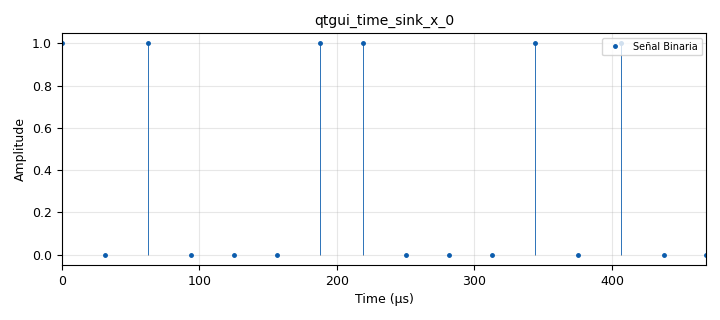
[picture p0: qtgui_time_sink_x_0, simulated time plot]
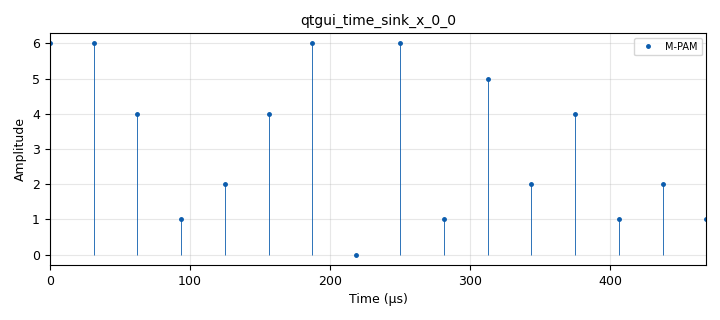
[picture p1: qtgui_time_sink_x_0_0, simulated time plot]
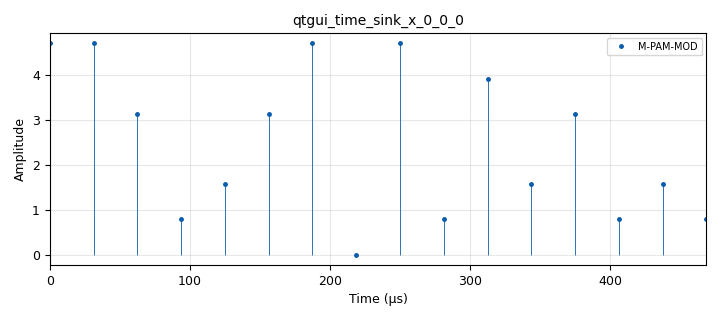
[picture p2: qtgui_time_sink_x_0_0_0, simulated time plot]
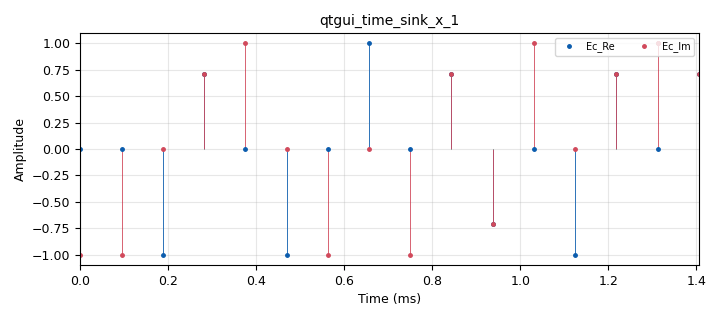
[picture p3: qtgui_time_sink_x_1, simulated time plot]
options:
  parameters:
    generate_options: qt_gui
    id: untitled
    output_language: python
    title: Not titled yet
  states: {}

blocks:
- name: M
  id: variable
  parameters:
    value: '8'
  states: {}
- name: Nbs
  id: variable
  parameters:
    value: int(math.log(M,2))
  states: {}
- name: Rb
  id: variable
  parameters:
    value: '32000'
  states: {}
- name: Rs
  id: variable
  parameters:
    value: Rb/Nbs
  states: {}
- name: analog_const_source_x_0
  id: analog_const_source_x
  parameters:
    const: '1.'
    type: float
  states: {}
- name: analog_random_source_x_0
  id: analog_random_source_x
  parameters:
    max: '2'
    min: '0'
    num_samps: '1000'
    repeat: 'True'
    type: byte
  states: {}
- name: blocks_char_to_float_0
  id: blocks_char_to_float
  parameters:
    scale: '1'
  states: {}
- name: blocks_char_to_float_0_0
  id: blocks_char_to_float
  parameters:
    scale: '1'
  states: {}
- name: blocks_char_to_float_0_0_0
  id: blocks_char_to_float
  parameters:
    scale: '1'
  states: {}
- name: blocks_multiply_const_vxx_0
  id: blocks_multiply_const_vxx
  parameters:
    const: 2*math.pi/M
    type: float
  states: {}
- name: blocks_repack_bits_bb_0
  id: blocks_repack_bits_bb
  parameters:
    endianness: gr.GR_LSB_FIRST
    k: '1'
    l: Nbs
  states: {}
- name: epy_block_0
  id: epy_block
  parameters:
    _source_code: "\n\nimport numpy as np\nfrom gnuradio import gr\n\nclass blk(gr.sync_block):  \n    \"\"\"This block is a Complex Exponential (CE) Voltage-Controlled Oscillator (VCO) or Baseband VCO. \n    It works by generating a complex exponential signal with amplitude and phase modulation.\n    \"\"\"\n\n    def __init__(self,):  \n        # Initialize the sync block with the specified input and output signal types\n        gr.sync_block.__init__(\n            self,\n            name='VCO Complex',  # Name of the block\n            in_sig=[np.float32, np.float32],  # Input: two float32 arrays (amplitude and phase)\n            out_sig=[np.complex64]  # Output: one complex64 array (modulated signal in complex form)\n        )\n        \n    def work(self, input_items, output_items):\n        # Get the amplitude (A) and phase (Q) from the input items\n        A = input_items[0]  # Amplitude input signal\n        Q = input_items[1]  # Phase input signal\n        Sec = output_items[0]  # Output signal array (modulated complex signal)\n\n        \n        # Generate the complex exponential output signal using the formula:\n        # y = A * exp(j*Q)\n        Sec[:] = A * np.exp(1j * Q)  # complex exponential signal\n        \n        \n        return len(Sec)"
  states: {}
- name: import_0
  id: import
  parameters:
    imports: import math
  states: {}
- name: qtgui_time_sink_x_0
  id: qtgui_time_sink_x
  parameters:
    autoscale: 'True'
    grid: 'True'
    label1: Señal Binaria
    marker1: '0'
    size: '16'
    srate: Rb
    stemplot: 'True'
    type: float
  states: {}
- name: qtgui_time_sink_x_0_0
  id: qtgui_time_sink_x
  parameters:
    autoscale: 'True'
    color1: dark blue
    grid: 'True'
    label1: M-PAM
    marker1: '0'
    size: '16'
    srate: Rb
    stemplot: 'True'
    type: float
  states: {}
- name: qtgui_time_sink_x_0_0_0
  id: qtgui_time_sink_x
  parameters:
    autoscale: 'True'
    color1: dark blue
    grid: 'True'
    label1: M-PAM-MOD
    marker1: '0'
    size: '16'
    srate: Rb
    stemplot: 'True'
    type: float
  states: {}
- name: qtgui_time_sink_x_1
  id: qtgui_time_sink_x
  parameters:
    autoscale: 'True'
    grid: 'True'
    label1: Ec_Re
    label2: Ec_Im
    marker1: '0'
    marker2: '0'
    size: '16'
    srate: Rs
    stemplot: 'True'
    type: complex
  states: {}

connections:
- [analog_const_source_x_0, '0', epy_block_0, '0']
- [analog_random_source_x_0, '0', blocks_char_to_float_0, '0']
- [analog_random_source_x_0, '0', blocks_repack_bits_bb_0, '0']
- [blocks_char_to_float_0, '0', qtgui_time_sink_x_0, '0']
- [blocks_char_to_float_0_0, '0', blocks_multiply_const_vxx_0, '0']
- [blocks_char_to_float_0_0_0, '0', qtgui_time_sink_x_0_0, '0']
- [blocks_multiply_const_vxx_0, '0', epy_block_0, '1']
- [blocks_multiply_const_vxx_0, '0', qtgui_time_sink_x_0_0_0, '0']
- [blocks_repack_bits_bb_0, '0', blocks_char_to_float_0_0, '0']
- [blocks_repack_bits_bb_0, '0', blocks_char_to_float_0_0_0, '0']
- [epy_block_0, '0', qtgui_time_sink_x_1, '0']

metadata:
  file_format: 1
  grc_version: v3.10.11.0-89-ga17f69e7
